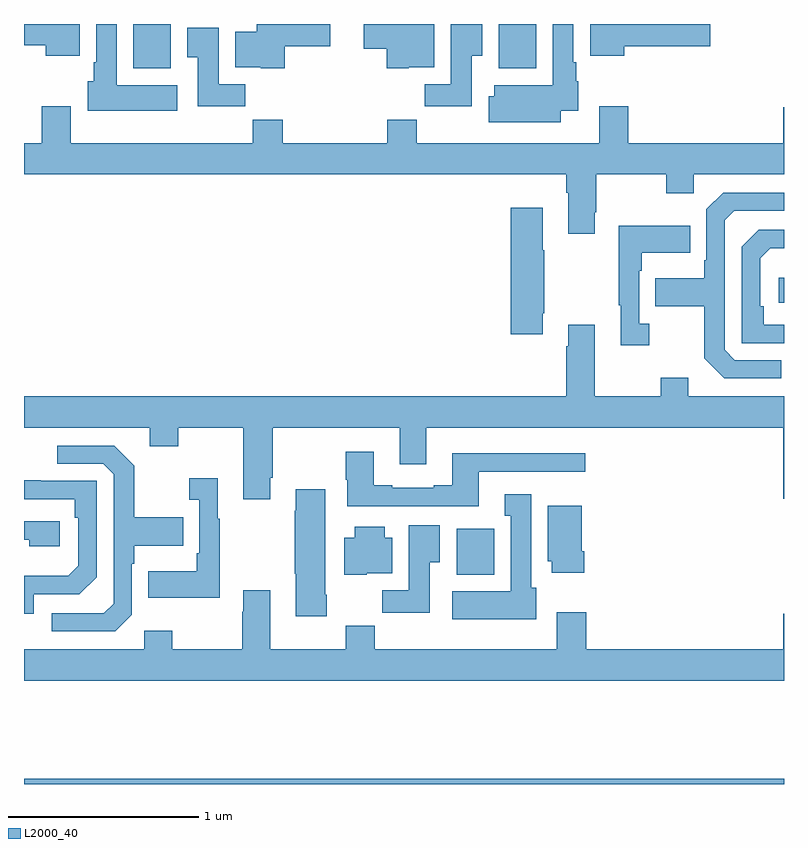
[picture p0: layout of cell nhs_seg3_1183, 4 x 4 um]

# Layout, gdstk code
import gdstk
lib = gdstk.Library(unit=1e-6, precision=1e-09)
def R(c, l, rs):  # rectangles x0, y0, x1, y1
    for r in rs: c.add(gdstk.rectangle(r[:2], r[2:], *l))
def P(c, l, *ps):  # polygons
    for p in ps: c.add(gdstk.Polygon(p, *l))
L2000_40 = (2000, 40)

nhs_seg3_1183 = lib.new_cell('nhs_seg3_1183')
R(nhs_seg3_1183, L2000_40, [(173,672.4,177,672.428), (175.277,673.502,175.474,673.744), (176.973,674.934,177,675.064), (173.576,676.166,173.773,676.4), (175.499,676.166,175.696,676.4)])
P(nhs_seg3_1183, L2000_40, [(173.806,676.078),(173.488,676.078),(173.488,676.4),(173.381,676.4),(173.381,676.198),(173.366,676.198),(173.366,676.098),(173.336,676.098),(173.336,675.944),(173.806,675.944)],
  [(175.825,675.944),(175.918,675.944),(175.918,676.098),(175.906,676.098),(175.906,676.198),(175.891,676.198),(175.891,676.4),(175.784,676.4),(175.784,676.078),(175.475,676.078),(175.475,676.019),(175.445,676.019),(175.445,675.884),(175.825,675.884)],
  [(173.293,676.4),(173,676.4),(173,676.288),(173.114,676.288),(173.114,676.232),(173.293,676.232)],
  [(175.026,676.172),(175.159,676.172),(175.159,676.4),(174.789,676.4),(174.789,676.27),(174.908,676.27),(174.908,676.166),(175.026,676.166)],
  [(174.372,676.283),(174.613,676.283),(174.613,676.4),(174.224,676.4),(174.224,676.36),(174.113,676.36),(174.113,676.172),(174.246,676.172),(174.246,676.166),(174.372,676.166)],
  [(175.357,676.232),(175.411,676.232),(175.411,676.4),(175.247,676.4),(175.247,676.084),(175.108,676.084),(175.108,675.966),(175.357,675.966)],
  [(176.158,676.283),(176.611,676.283),(176.611,676.4),(175.979,676.4),(175.979,676.232),(176.158,676.232)],
  [(174.164,676.084),(174.025,676.084),(174.025,676.381),(173.858,676.381),(173.858,676.225),(173.915,676.225),(173.915,675.966),(174.164,675.966)],
  [(176.18,675.967),(176.027,675.967),(176.027,675.772),(175.067,675.772),(175.067,675.896),(174.911,675.896),(174.911,675.772),(174.362,675.772),(174.362,675.896),(174.205,675.896),(174.205,675.772),(173.245,675.772),(173.245,675.967),(173.093,675.967),(173.093,675.772),(173,675.772),(173,675.608),(175.853,675.608),(175.853,675.512),(175.865,675.512),(175.865,675.297),(176.005,675.297),(176.005,675.409),(176.013,675.409),(176.013,675.608),(176.38,675.608),(176.38,675.509),(176.526,675.509),(176.526,675.608),(177,675.608),(177,675.961),(176.996,675.961),(176.996,675.772),(176.18,675.772)],
  [(176.986,674.631),(176.742,674.631),(176.688,674.685),(176.688,675.366),(176.739,675.417),(177,675.417),(177,675.513),(176.679,675.513),(176.592,675.426),(176.592,675.157),(176.58,675.157),(176.58,675.061),(176.323,675.061),(176.323,674.914),(176.58,674.914),(176.58,674.641),(176.685,674.535),(176.986,674.535)],
  [(175.729,674.878),(175.737,674.878),(175.737,675.209),(175.729,675.209),(175.729,675.433),(175.562,675.433),(175.562,674.766),(175.729,674.766)],
  [(176.29,674.822),(176.238,674.822),(176.238,675.101),(176.251,675.101),(176.251,675.197),(176.507,675.197),(176.507,675.337),(176.13,675.337),(176.13,674.921),(176.141,674.921),(176.141,674.709),(176.29,674.709)],
  [(177,674.817),(176.894,674.817),(176.894,674.914),(176.874,674.914),(176.874,675.168),(176.927,675.221),(177,675.221),(177,675.318),(176.868,675.318),(176.778,675.228),(176.778,674.721),(177,674.721)],
  [(174.295,674.011),(174.308,674.011),(174.308,674.276),(174.977,674.276),(174.977,674.082),(175.117,674.082),(175.117,674.276),(176.996,674.276),(176.996,673.902),(177,673.902),(177,674.44),(176.497,674.44),(176.497,674.539),(176.35,674.539),(176.35,674.44),(176.005,674.44),(176.005,674.818),(175.865,674.818),(175.865,674.705),(175.853,674.705),(175.853,674.44),(173,674.44),(173,674.276),(173.663,674.276),(173.663,674.177),(173.811,674.177),(173.811,674.276),(174.155,674.276),(174.155,673.899),(174.295,673.899)],
  [(173.568,673.29),(173.568,673.559),(173.581,673.559),(173.581,673.655),(173.837,673.655),(173.837,673.803),(173.581,673.803),(173.581,674.075),(173.475,674.181),(173.175,674.181),(173.175,674.085),(173.418,674.085),(173.472,674.031),(173.472,673.35),(173.421,673.299),(173.145,673.299),(173.145,673.203),(173.481,673.203)],
  [(175.393,674.043),(175.954,674.043),(175.954,674.14),(175.253,674.14),(175.253,673.972),(175.157,673.972),(175.157,673.959),(174.937,673.959),(174.937,673.972),(174.841,673.972),(174.841,674.149),(174.694,674.149),(174.694,674.001),(174.701,674.001),(174.701,673.863),(175.393,673.863)],
  [(174.031,673.795),(174.019,673.795),(174.019,674.008),(173.871,674.008),(173.871,673.895),(173.922,673.895),(173.922,673.615),(173.91,673.615),(173.91,673.519),(173.653,673.519),(173.653,673.379),(174.031,673.379)],
  [(173.052,673.398),(173.292,673.398),(173.382,673.488),(173.382,673.995),(173.087,673.995),(173.087,674),(173,674),(173,673.899),(173.266,673.899),(173.266,673.802),(173.286,673.802),(173.286,673.548),(173.233,673.495),(173,673.495),(173,673.296),(173.052,673.296)],
  [(174.594,673.396),(174.586,673.396),(174.586,673.951),(174.431,673.951),(174.431,673.838),(174.424,673.838),(174.424,673.507),(174.431,673.507),(174.431,673.284),(174.594,673.284)],
  [(175.696,673.434),(175.669,673.434),(175.669,673.924),(175.529,673.924),(175.529,673.811),(175.562,673.811),(175.562,673.414),(175.253,673.414),(175.253,673.268),(175.696,673.268)],
  [(175.949,673.624),(175.936,673.624),(175.936,673.864),(175.757,673.864),(175.757,673.572),(175.778,673.572),(175.778,673.512),(175.949,673.512)],
  [(173.188,673.782),(173,673.782),(173,673.686),(173.027,673.686),(173.027,673.652),(173.188,673.652)],
  [(175.135,673.568),(175.189,673.568),(175.189,673.762),(175.025,673.762),(175.025,673.42),(174.886,673.42),(174.886,673.302),(175.135,673.302)],
  [(174.804,673.508),(174.937,673.508),(174.937,673.696),(174.898,673.696),(174.898,673.753),(174.74,673.753),(174.74,673.696),(174.686,673.696),(174.686,673.502),(174.804,673.502)],
  [(177,673.297),(176.996,673.297),(176.996,673.108),(175.958,673.108),(175.958,673.303),(175.805,673.303),(175.805,673.108),(174.845,673.108),(174.845,673.232),(174.694,673.232),(174.694,673.108),(174.295,673.108),(174.295,673.42),(174.155,673.42),(174.155,673.307),(174.148,673.307),(174.148,673.108),(173.781,673.108),(173.781,673.207),(173.634,673.207),(173.634,673.108),(173,673.108),(173,672.944),(177,672.944)])

lib.write_gds('nhs_seg3_1183.gds')
